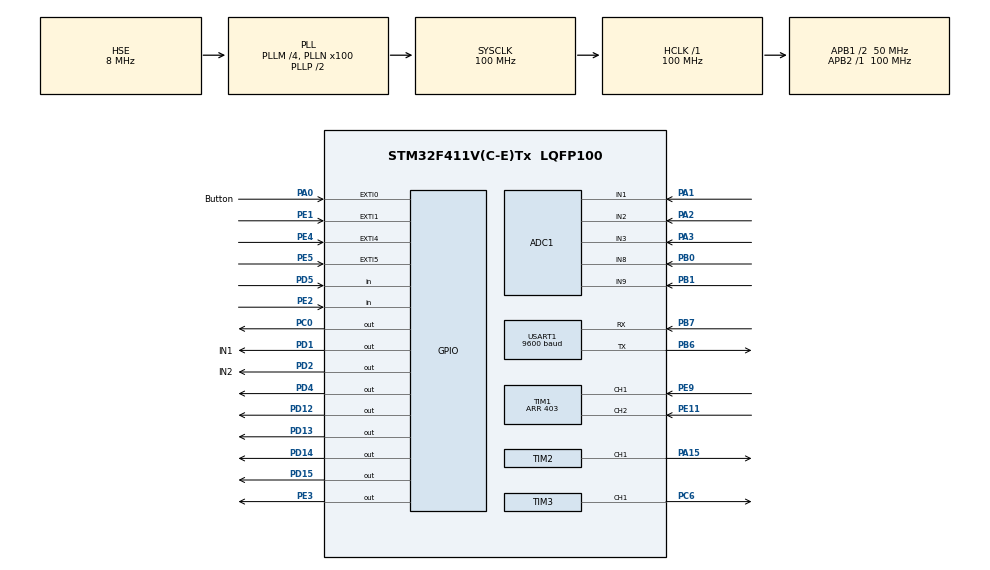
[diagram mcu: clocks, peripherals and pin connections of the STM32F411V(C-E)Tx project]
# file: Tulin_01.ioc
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ADC1.Channel-19\#ChannelRegularConversion=ADC_CHANNEL_1
ADC1.Channel-20\#ChannelRegularConversion=ADC_CHANNEL_2
ADC1.Channel-21\#ChannelRegularConversion=ADC_CHANNEL_3
ADC1.Channel-22\#ChannelRegularConversion=ADC_CHANNEL_8
ADC1.Channel-23\#ChannelRegularConversion=ADC_CHANNEL_9
ADC1.ClockPrescaler=ADC_CLOCK_SYNC_PCLK_DIV8
ADC1.ContinuousConvMode=ENABLE
ADC1.DMAContinuousRequests=ENABLE
ADC1.InjNumberOfConversion=0
ADC1.NbrOfConversion=5
ADC1.NbrOfConversionFlag=1
ADC1.Rank-19\#ChannelRegularConversion=1
ADC1.Rank-20\#ChannelRegularConversion=2
ADC1.Rank-21\#ChannelRegularConversion=3
ADC1.Rank-22\#ChannelRegularConversion=4
ADC1.Rank-23\#ChannelRegularConversion=5
ADC1.SamplingTime-19\#ChannelRegularConversion=ADC_SAMPLETIME_480CYCLES
ADC1.SamplingTime-20\#ChannelRegularConversion=ADC_SAMPLETIME_480CYCLES
ADC1.SamplingTime-21\#ChannelRegularConversion=ADC_SAMPLETIME_480CYCLES
ADC1.SamplingTime-22\#ChannelRegularConversion=ADC_SAMPLETIME_480CYCLES
ADC1.SamplingTime-23\#ChannelRegularConversion=ADC_SAMPLETIME_480CYCLES
ADC1.ScanConvMode=ENABLE
ADC1.master=1
Dma.ADC1.0.Direction=DMA_PERIPH_TO_MEMORY
Dma.ADC1.0.FIFOMode=DMA_FIFOMODE_DISABLE
Dma.ADC1.0.Instance=DMA2_Stream0
Dma.ADC1.0.MemDataAlignment=DMA_MDATAALIGN_HALFWORD
Dma.ADC1.0.MemInc=DMA_MINC_ENABLE
Dma.ADC1.0.Mode=DMA_CIRCULAR
Dma.ADC1.0.PeriphDataAlignment=DMA_PDATAALIGN_HALFWORD
Dma.ADC1.0.PeriphInc=DMA_PINC_DISABLE
Dma.ADC1.0.Priority=DMA_PRIORITY_LOW
Dma.Request0=ADC1
Dma.Request1=TIM3_CH1/TRIG
Dma.Request2=TIM2_CH1
Dma.TIM2_CH1.2.Direction=DMA_MEMORY_TO_PERIPH
Dma.TIM2_CH1.2.FIFOMode=DMA_FIFOMODE_DISABLE
Dma.TIM2_CH1.2.Instance=DMA1_Stream5
Dma.TIM2_CH1.2.MemDataAlignment=DMA_MDATAALIGN_WORD
Dma.TIM2_CH1.2.MemInc=DMA_MINC_ENABLE
Dma.TIM2_CH1.2.Mode=DMA_CIRCULAR
Dma.TIM2_CH1.2.PeriphDataAlignment=DMA_PDATAALIGN_WORD
Dma.TIM2_CH1.2.PeriphInc=DMA_PINC_DISABLE
Dma.TIM2_CH1.2.Priority=DMA_PRIORITY_LOW
Dma.TIM3_CH1/TRIG.1.Direction=DMA_MEMORY_TO_PERIPH
Dma.TIM3_CH1/TRIG.1.FIFOMode=DMA_FIFOMODE_DISABLE
Dma.TIM3_CH1/TRIG.1.Instance=DMA1_Stream4
Dma.TIM3_CH1/TRIG.1.MemDataAlignment=DMA_MDATAALIGN_HALFWORD
Dma.TIM3_CH1/TRIG.1.MemInc=DMA_MINC_ENABLE
Dma.TIM3_CH1/TRIG.1.Mode=DMA_CIRCULAR
Dma.TIM3_CH1/TRIG.1.PeriphDataAlignment=DMA_PDATAALIGN_HALFWORD
Dma.TIM3_CH1/TRIG.1.PeriphInc=DMA_PINC_DISABLE
Dma.TIM3_CH1/TRIG.1.Priority=DMA_PRIORITY_LOW
Mcu.Family=STM32F4
Mcu.Name=STM32F411V(C-E)Tx
Mcu.Package=LQFP100
NVIC.DMA1_Stream4_IRQn=true\:0\:0\:false\:false\:true\:false
NVIC.DMA1_Stream5_IRQn=true\:0\:0\:false\:false\:true\:false
NVIC.DMA2_Stream0_IRQn=true\:0\:0\:false\:false\:true\:false
NVIC.EXTI0_IRQn=true\:0\:0\:false\:false\:true\:true
NVIC.PriorityGroup=NVIC_PRIORITYGROUP_0
NVIC.TIM1_UP_TIM10_IRQn=true\:0\:0\:false\:false\:true\:true
NVIC.USART1_IRQn=true\:0\:0\:false\:false\:true\:true
PA0-WKUP.GPIO_Label=Button
PA0-WKUP.GPIO_ModeDefaultEXTI=GPIO_MODE_IT_RISING
PA0-WKUP.GPIO_PuPd=GPIO_NOPULL
PA0-WKUP.Signal=GPXTI0
PA1.Signal=ADCx_IN1
PA10.GPIO_Mode=GPIO_MODE_AF_PP
PA10.GPIO_PuPd=GPIO_NOPULL
PA10.GPIO_Speed=GPIO_SPEED_FREQ_VERY_HIGH
PA10.Signal=USB_OTG_FS_ID
PA11.GPIO_Mode=GPIO_MODE_AF_PP
PA11.GPIO_PuPd=GPIO_NOPULL
PA11.GPIO_Speed=GPIO_SPEED_FREQ_VERY_HIGH
PA11.Signal=USB_OTG_FS_DM
PA12.GPIO_Mode=GPIO_MODE_AF_PP
PA12.GPIO_PuPd=GPIO_NOPULL
PA12.GPIO_Speed=GPIO_SPEED_FREQ_VERY_HIGH
PA12.Signal=USB_OTG_FS_DP
PA13.Signal=SYS_JTMS-SWDIO
PA14.Signal=SYS_JTCK-SWCLK
PA15.Signal=S_TIM2_CH1_ETR
PA2.Signal=ADCx_IN2
PA3.Signal=ADCx_IN3
PA4.GPIO_Mode=GPIO_MODE_AF_PP
PA4.GPIO_PuPd=GPIO_NOPULL
PA4.GPIO_Speed=GPIO_SPEED_FREQ_LOW
PA4.Signal=I2S3_WS
PA5.GPIO_Mode=GPIO_MODE_AF_PP
PA5.GPIO_PuPd=GPIO_NOPULL
PA5.GPIO_Speed=GPIO_SPEED_FREQ_VERY_HIGH
PA5.Signal=SPI1_SCK
PA6.GPIO_Mode=GPIO_MODE_AF_PP
PA6.GPIO_PuPd=GPIO_NOPULL
PA6.GPIO_Speed=GPIO_SPEED_FREQ_VERY_HIGH
PA6.Signal=SPI1_MISO
PA7.GPIO_Mode=GPIO_MODE_AF_PP
PA7.GPIO_PuPd=GPIO_NOPULL
PA7.GPIO_Speed=GPIO_SPEED_FREQ_VERY_HIGH
PA7.Signal=SPI1_MOSI
PA9.GPIO_Mode=GPIO_MODE_INPUT
PA9.GPIO_PuPd=GPIO_NOPULL
PA9.Signal=USB_OTG_FS_VBUS
PB0.Signal=ADCx_IN8
PB1.Signal=ADCx_IN9
PB10.GPIO_Mode=GPIO_MODE_AF_PP
PB10.GPIO_PuPd=GPIO_NOPULL
PB10.GPIO_Speed=GPIO_SPEED_FREQ_LOW
PB10.Signal=I2S2_CK
PB12.Signal=I2S2_WS
PB3.Signal=SYS_JTDO-SWO
PB6.Mode=Asynchronous
PB6.Signal=USART1_TX
PB7.Mode=Asynchronous
PB7.Signal=USART1_RX
PB9.GPIO_Mode=GPIO_MODE_AF_OD
PB9.GPIO_PuPd=GPIO_NOPULL
PB9.GPIO_PuPdOD=GPIO_PULLUP
PB9.GPIO_Speed=GPIO_SPEED_FREQ_VERY_HIGH
PB9.Signal=I2C1_SDA
PC0.GPIO_ModeDefaultOutputPP=GPIO_MODE_OUTPUT_PP
PC0.GPIO_PuPd=GPIO_NOPULL
PC0.GPIO_Speed=GPIO_SPEED_FREQ_LOW
PC0.PinState=GPIO_PIN_RESET
PC0.Signal=GPIO_Output
PC10.GPIO_Mode=GPIO_MODE_AF_PP
PC10.GPIO_PuPd=GPIO_NOPULL
PC10.GPIO_Speed=GPIO_SPEED_FREQ_LOW
PC10.Signal=I2S3_CK
PC12.GPIO_Mode=GPIO_MODE_AF_PP
PC12.GPIO_PuPd=GPIO_NOPULL
PC12.GPIO_Speed=GPIO_SPEED_FREQ_LOW
PC12.Signal=I2S3_SD
PC14-OSC32_IN.Signal=RCC_OSC32_IN
PC15-OSC32_OUT.Signal=RCC_OSC32_OUT
PC3.GPIO_Mode=GPIO_MODE_AF_PP
PC3.GPIO_PuPd=GPIO_NOPULL
PC3.GPIO_Speed=GPIO_SPEED_FREQ_LOW
PC3.Signal=I2S2_SD
PC6.Signal=S_TIM3_CH1
PC7.GPIO_Mode=GPIO_MODE_AF_PP
PC7.GPIO_PuPd=GPIO_NOPULL
PC7.GPIO_Speed=GPIO_SPEED_FREQ_LOW
PC7.Signal=I2S3_MCK
PD1.GPIO_Label=IN1
PD1.Signal=GPIO_Output
PD12.GPIO_ModeDefaultOutputPP=GPIO_MODE_OUTPUT_PP
PD12.GPIO_PuPd=GPIO_NOPULL
PD12.GPIO_Speed=GPIO_SPEED_FREQ_LOW
PD12.PinState=GPIO_PIN_RESET
PD12.Signal=GPIO_Output
PD13.GPIO_ModeDefaultOutputPP=GPIO_MODE_OUTPUT_PP
PD13.GPIO_PuPd=GPIO_NOPULL
PD13.GPIO_Speed=GPIO_SPEED_FREQ_LOW
PD13.PinState=GPIO_PIN_RESET
PD13.Signal=GPIO_Output
PD14.GPIO_ModeDefaultOutputPP=GPIO_MODE_OUTPUT_PP
PD14.GPIO_PuPd=GPIO_NOPULL
PD14.GPIO_Speed=GPIO_SPEED_FREQ_LOW
PD14.PinState=GPIO_PIN_RESET
PD14.Signal=GPIO_Output
PD15.GPIO_ModeDefaultOutputPP=GPIO_MODE_OUTPUT_PP
PD15.GPIO_PuPd=GPIO_NOPULL
PD15.GPIO_Speed=GPIO_SPEED_FREQ_LOW
PD15.PinState=GPIO_PIN_RESET
PD15.Signal=GPIO_Output
PD2.GPIO_Label=IN2
PD2.Signal=GPIO_Output
PD4.GPIO_ModeDefaultOutputPP=GPIO_MODE_OUTPUT_PP
PD4.GPIO_PuPd=GPIO_NOPULL
PD4.GPIO_Speed=GPIO_SPEED_FREQ_LOW
PD4.PinState=GPIO_PIN_RESET
PD4.Signal=GPIO_Output
PD5.GPIO_Mode=GPIO_MODE_INPUT
PD5.GPIO_PuPd=GPIO_NOPULL
PD5.Signal=GPIO_Input
PE1.GPIO_ModeDefaultEXTI=GPIO_MODE_IT_RISING
PE1.GPIO_PuPd=GPIO_NOPULL
PE1.Signal=GPXTI1
PE11.Signal=S_TIM1_CH2
PE2.Signal=GPIO_Input
PE3.GPIO_ModeDefaultOutputPP=GPIO_MODE_OUTPUT_PP
PE3.GPIO_PuPd=GPIO_NOPULL
PE3.GPIO_Speed=GPIO_SPEED_FREQ_LOW
PE3.PinState=GPIO_PIN_RESET
PE3.Signal=GPIO_Output
PE4.GPIO_ModeDefaultEXTI=GPIO_MODE_IT_RISING
PE4.GPIO_PuPd=GPIO_NOPULL
PE4.Signal=GPXTI4
PE5.GPIO_ModeDefaultEXTI=GPIO_MODE_IT_RISING
PE5.GPIO_PuPd=GPIO_NOPULL
PE5.Signal=GPXTI5
PE9.Signal=S_TIM1_CH1
PH0\ -\ OSC_IN.Mode=HSE-External-Oscillator
PH0\ -\ OSC_IN.Signal=RCC_OSC_IN
PH1\ -\ OSC_OUT.Mode=HSE-External-Oscillator
PH1\ -\ OSC_OUT.Signal=RCC_OSC_OUT
ProjectManager.HeapSize=0x200
ProjectManager.StackSize=0x400
ProjectManager.TargetToolchain=MDK-ARM V5
RCC.48MHZClocksFreq_Value=25000000
RCC.AHBFreq_Value=100000000
RCC.APB1CLKDivider=RCC_HCLK_DIV2
RCC.APB1Freq_Value=50000000
RCC.APB1TimFreq_Value=100000000
RCC.APB2Freq_Value=100000000
RCC.APB2TimFreq_Value=100000000
RCC.CortexFreq_Value=100000000
RCC.HCLKFreq_Value=100000000
RCC.HSE_VALUE=8000000
RCC.HSI_VALUE=16000000
RCC.LSE_VALUE=32768
RCC.PLLI2SM=5
RCC.PLLI2SN=200
RCC.PLLM=4
RCC.PLLN=100
RCC.PLLQ=8
RCC.PLLSourceVirtual=RCC_PLLSOURCE_HSE
RCC.SYSCLKFreq_VALUE=100000000
RCC.SYSCLKSource=RCC_SYSCLKSOURCE_PLLCLK
RCC.VCOOutputFreq_Value=200000000
SH.ADCx_IN1.0=ADC1_IN1,IN1
SH.ADCx_IN2.0=ADC1_IN2,IN2
SH.ADCx_IN3.0=ADC1_IN3,IN3
SH.ADCx_IN8.0=ADC1_IN8,IN8
SH.ADCx_IN9.0=ADC1_IN9,IN9
SH.S_TIM1_CH1.0=TIM1_CH1,Encoder_Interface
SH.S_TIM1_CH2.0=TIM1_CH2,Encoder_Interface
SH.S_TIM2_CH1_ETR.0=TIM2_CH1,PWM Generation1 CH1
SH.S_TIM3_CH1.0=TIM3_CH1,PWM Generation1 CH1
TIM1.EncoderMode=TIM_ENCODERMODE_TI12
TIM1.IC1Filter=15
TIM1.IC2Filter=15
TIM1.Period=403
TIM10.Period=9999
TIM10.Prescaler=99
TIM2.Channel-PWM\ Generation1\ CH1=TIM_CHANNEL_1
TIM2.Period=99
TIM2.Prescaler=19
TIM3.Channel-PWM\ Generation1\ CH1=TIM_CHANNEL_1
TIM3.Period=199
TIM3.Prescaler=4999
USART1.BaudRate=9600
USART1.VirtualMode=VM_ASYNC
VP_TIM10_VS_ClockSourceINT.Mode=Enable_Timer
VP_TIM2_VS_ClockSourceINT.Mode=Internal
VP_TIM3_VS_ClockSourceINT.Mode=Internal
board=STM32F411E-DISCO

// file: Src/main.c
/**
  ******************************************************************************
  * File Name          : main.c
  * Description        : Main program body (Disco)
	* Author             : Gradowski Kamil
	* Project name       : Tulin
  ******************************************************************************

  */
#include "main.h"
#include "stm32f4xx_hal.h"

ADC_HandleTypeDef hadc1;
DMA_HandleTypeDef hdma_adc1;

TIM_HandleTypeDef htim1;
TIM_HandleTypeDef htim2;
TIM_HandleTypeDef htim3;
TIM_HandleTypeDef htim10;
DMA_HandleTypeDef hdma_tim2_ch1;
DMA_HandleTypeDef hdma_tim3_ch1_trig;

UART_HandleTypeDef huart1;

/* USER CODE BEGIN PV */
/* Private variables ---------------------------------------------------------*/
uint32_t Duty = 0; //SKRET
uint32_t Duty2 = 83; // PREDKOSC
uint32_t serwo = 21; // SKRET
uint16_t czujniki[5];
uint16_t tablica[5];
uint32_t kalibracja[5] = {0,0,0,0,0};
uint16_t prog = 1900;
uint8_t status = 0 ;
uint16_t czas_kalibracji = 100;
volatile uint8_t petla = 0;
int wagi[7] = {-20, -10, 0, 10, 20};
int blad=0, pop_blad =0 , Kp = 1 , Kd = 1;
uint32_t ile = 0;
volatile int test;
//static uint16_t cnt = 0; // Licznik wyslanych wiadomosci
uint8_t Data[50]; // Tablica przechowujaca wysylana wiadomosc.
uint16_t size = 0; // Rozmiar wysylanej wiadomosci
uint8_t Received;
float kb =0.6;
uint8_t flaga_nucleo;
uint32_t cnt_f =0;
uint8_t poprawka = 0;
uint8_t wiad = 0;

/* USER CODE END PV */

void SystemClock_Config(void);
static void MX_GPIO_Init(void);
static void MX_DMA_Init(void);
static void MX_TIM3_Init(void);
static void MX_TIM1_Init(void);
static void MX_ADC1_Init(void);
static void MX_TIM2_Init(void);
static void MX_TIM10_Init(void);
static void MX_USART1_UART_Init(void);

void HAL_TIM_MspPostInit(TIM_HandleTypeDef *htim);

/* USER CODE BEGIN PFP */
/* Private function prototypes -----------------------------------------------*/
void HAL_GPIO_EXTI_Callback(uint16_t GPIO_Pin){
 if(GPIO_Pin == Button_Pin){
	 status =!status;               // ON/OFF
	 	if(status == 1) Duty2 = 25;	  // predkosc poczatkowa - ON
		else Duty2 = 0;               // OFF
 }
 }
//Przerwanie 100Hz, do glownej petli programu
void HAL_TIM_PeriodElapsedCallback(TIM_HandleTypeDef *htim){
 if(htim->Instance == TIM10){
	 petla = 1;
	 cnt_f++;
 }
 }

// Przerwanie wywolywane z czestotliwoscia 1KHz
void HAL_SYSTICK_Callback(void)

	{

  }

	//FUNKCJA DO USTALANIA PROGU - KALIBRACJI CZUJNIKÓW
	void kalibracja_progu()
	{
		for(int j = 0 ; j < czas_kalibracji ; j++)
		{
			for( int i = 0 ; i < 5 ; i++)
			{
			kalibracja[i] = kalibracja[i] + czujniki[i]; // Sumowanie wartosci z czujników linii
			}

		}
		for( int k = 0 ; k < 5 ; k++)
		{
			kalibracja[k]= (kalibracja[k] / czas_kalibracji) ; //usrednienie wartosci z czujników
		}

	}

	// FUNKCJA DETEKCJI LINII
	void czytaj_adc()
	{
		for( int i = 0 ; i < 5 ; i++)                // przeszukiwanie tablicy z wartosciami napiec
		{
			if(czujniki[i] > ( kalibracja[i] + prog) ) // zamiana wartosci napiec z transoptorow
			{                                          // na tablice zawierajaca informacje o wykryciu linii
				tablica[i] = 1;                          // wykrycie linii
			}
			else
			{
				tablica[i] = 0;                           // brak wykrycia linii
			}

		}

	}

	int licz_blad()
{
    int err = 0;                         // wartosc bledu
    int ilosc = 0;                        // ilosc czujników z wykryta linia

    for(int i=0; i<5; i++)
    {
        err += tablica[i]*wagi[i];        // wymnozenie czujnikow przez wagi
        ilosc += tablica[i];              // tablica[i] ma wartosc 1/0 wiec zliczamy
    }                                     // czujniki pod którymi wykryto linie

    err = err / ilosc;                        // usrednienie wartosci bledu

    return err;
}

int PD()
{
    //wynik funkcji licz_blad() przechowywany jest w zmiennej blad
    int rozniczka = blad - pop_blad;   // obliczanie czlonu rozniczkujacego
    pop_blad = blad;
    return Kp*blad + Kd*rozniczka;    // przypisanie wag do czlonow
}
/* Funkcja szukania linii po zgubieniu */
void szukanie_ln()
{
	uint8_t ilosc_cz = 0;
	uint8_t sz_blad = 0;
	uint8_t czas_zgubienia = 0;

	/* przeszukiwanie tablicy czujnikow */
	for(int l=0; l<5 ; l++)
	{
		ilosc_cz += tablica[l]; //zliczanie ilosci czujnikow pod ktorymi jest linia
	}
	/* jezeli wykryto linie i blad jest wiekszy od zera */
	if((ilosc_cz > 0) ^ (blad > 0))
	{
		sz_blad = blad;        // zachowanie wartosci bledu w zmiennej sz_blad
		czas_zgubienia = 0;
	}
	else                     // nie ma lini pod czujnikami
	{
		czas_zgubienia++;      // inkrementacja czasu braku lini pod czujnikami
		/* jezeli nie ma linii pod czujnikami i jezeli blad wynosi 0
		i jezeli trwa to od 0,5 s */
		if ((blad == 0) ^ (czas_zgubienia > 50))
		{
			blad = sz_blad;     // przypisanie do aktualnego bledu ostatnia porawna wartosc
		}
	}
}
/* Funkcja awaryjnego lub zdalnego zatrzymania robota */
void stop()
{
	if(flaga_nucleo == 6)     // jesli otrzymano polecenie STOP
	{
		status = 0;             // zatrzymaj silnik
	}
	else if( cnt_f == 2000)   //jesli przez 20s nie otrzymano zadnego polecenia
	{
		if(flaga_nucleo == 0)
		{
			status = 0;          // zatrzymaj silnik
		}
		flaga_nucleo = 0;      // wyzerowanie flagi wiadomosci
		cnt_f = 0;             // wyzerowanie licznika czasu
	}

}
//  UART

// UART!!!!!!!!!! - Bluetooth
void HAL_UART_RxCpltCallback(UART_HandleTypeDef *huart) {

 uint8_t Data[50]; // Tablica przechowujaca wysylana wiadomosc.
 uint16_t size = 0; // Rozmiar wysylanej wiadomosci

 // Odebrany znak zostaje przekonwertowany na liczbe calkowita i sprawdzony
 // instrukcja warunkowa

 switch (atoi((char*)&Received)) {

 case 2: // Jezeli odebrany zostanie znak 2
 wiad = 1;
 HAL_GPIO_WritePin(GPIOD, GPIO_PIN_13, GPIO_PIN_SET);
 flaga_nucleo = 2;

 break;

 case 8: // Jezeli odebrany zostanie znak 8
wiad = 1;
 HAL_GPIO_WritePin(GPIOD, GPIO_PIN_13, GPIO_PIN_RESET);
 flaga_nucleo = 8;

 break;

 case 6: // Jezeli odebrany zostanie znak 6
wiad = 1;
 flaga_nucleo = 6;

 break;

 case 3: // Jezeli odebrany zostanie znak 3
wiad = 1;
 flaga_nucleo = 3;

 //default: // Jezeli odebrano nieobslugiwany znak
 //size = sprintf(Data, "Odebrano nieznany znak: %c\n\r", Received[10]);

 }
 HAL_UART_Transmit_IT(&huart1, Data, size); // Rozpoczecie nadawania danych z wykorzystaniem przerwan
 HAL_UART_Receive_IT(&huart1, &Received, 1); // Ponowne wlaczenie nasluchiwania
 }

/* USER CODE END PFP */

int main(void)
{

  /* MCU Configuration----------------------------------------------------------*/

  /* Reset of all peripherals, Initializes the Flash interface and the Systick. */
  HAL_Init();

  /* Configure the system clock */
  SystemClock_Config();

  /* Initialize all configured peripherals */
  MX_GPIO_Init();
  MX_DMA_Init();
  MX_TIM3_Init();
  MX_TIM1_Init();
  MX_ADC1_Init();
  MX_TIM2_Init();
  MX_TIM10_Init();
  MX_USART1_UART_Init();

  /* USER CODE BEGIN 2 */
HAL_TIM_PWM_Start_DMA(&htim3, TIM_CHANNEL_1, &Duty, 1);
HAL_TIM_PWM_Start_DMA(&htim2, TIM_CHANNEL_1, &Duty2, 1);
HAL_TIM_Encoder_Start(&htim1, TIM_CHANNEL_ALL);
HAL_ADC_Start_IT(&hadc1);
HAL_ADC_Start_DMA(&hadc1, (uint32_t*)czujniki, 5);
HAL_GPIO_WritePin(GPIOD, GPIO_PIN_1, GPIO_PIN_RESET);
HAL_GPIO_WritePin(GPIOD, GPIO_PIN_2, GPIO_PIN_SET);
HAL_TIM_Base_Start_IT(&htim10);
HAL_UART_Receive_IT(&huart1, &Received, 1);

kalibracja_progu();
  /* USER CODE END 2 */

  /* Infinite loop */
  while (1)
  {

  /* USER CODE BEGIN 3 */
szukanie_ln();
Duty = serwo;                                    		// sterowanie kolami
if( Duty >= 50) Duty = 50;													 // ograniczenie ruchow serwa
if (Duty <=0) Duty = 0;

		// JAZDA. STATUS I PREDKOSC
	if(wiad == 1)
	{
	if(flaga_nucleo == 2 ) Duty2 = Duty2 + 5;         //przyspiesz
	else if(flaga_nucleo == 8) Duty2 = Duty2 - 5;	    //zwolnij
		wiad = 0;
	}

		if(petla)
		{
			HAL_GPIO_TogglePin(GPIOD, GPIO_PIN_14);

		  czytaj_adc();

			blad = licz_blad();

			poprawka = PD();  // regulator PD
// nanoszenie poprawki - reakcja na blad
				serwo = 21 + (kb*poprawka);
				if( serwo >= 50) serwo = 50;
				if (serwo <=0) serwo = 0;

			petla = 0;
		}

  /* USER CODE END 3 */

}
	}

/** System Clock Configuration
*/
void SystemClock_Config(void)
{

  RCC_OscInitTypeDef RCC_OscInitStruct;
  RCC_ClkInitTypeDef RCC_ClkInitStruct;

    /**Configure the main internal regulator output voltage
    */
  __HAL_RCC_PWR_CLK_ENABLE();

  __HAL_PWR_VOLTAGESCALING_CONFIG(PWR_REGULATOR_VOLTAGE_SCALE1);

    /**Initializes the CPU, AHB and APB busses clocks
    */
  RCC_OscInitStruct.OscillatorType = RCC_OSCILLATORTYPE_HSE;
  RCC_OscInitStruct.HSEState = RCC_HSE_ON;
  RCC_OscInitStruct.PLL.PLLState = RCC_PLL_ON;
  RCC_OscInitStruct.PLL.PLLSource = RCC_PLLSOURCE_HSE;
  RCC_OscInitStruct.PLL.PLLM = 4;
  RCC_OscInitStruct.PLL.PLLN = 100;
  RCC_OscInitStruct.PLL.PLLP = RCC_PLLP_DIV2;
  RCC_OscInitStruct.PLL.PLLQ = 8;
  if (HAL_RCC_OscConfig(&RCC_OscInitStruct) != HAL_OK)
  {
    _Error_Handler(__FILE__, __LINE__);
  }

    /**Initializes the CPU, AHB and APB busses clocks
    */
  RCC_ClkInitStruct.ClockType = RCC_CLOCKTYPE_HCLK|RCC_CLOCKTYPE_SYSCLK
                              |RCC_CLOCKTYPE_PCLK1|RCC_CLOCKTYPE_PCLK2;
  RCC_ClkInitStruct.SYSCLKSource = RCC_SYSCLKSOURCE_PLLCLK;
  RCC_ClkInitStruct.AHBCLKDivider = RCC_SYSCLK_DIV1;
  RCC_ClkInitStruct.APB1CLKDivider = RCC_HCLK_DIV2;
  RCC_ClkInitStruct.APB2CLKDivider = RCC_HCLK_DIV1;

  if (HAL_RCC_ClockConfig(&RCC_ClkInitStruct, FLASH_LATENCY_3) != HAL_OK)
  {
    _Error_Handler(__FILE__, __LINE__);
  }

    /**Configure the Systick interrupt time
    */
  HAL_SYSTICK_Config(HAL_RCC_GetHCLKFreq()/1000);

    /**Configure the Systick
    */
  HAL_SYSTICK_CLKSourceConfig(SYSTICK_CLKSOURCE_HCLK);

  /* SysTick_IRQn interrupt configuration */
  HAL_NVIC_SetPriority(SysTick_IRQn, 0, 0);
}

/* ADC1 init function */
static void MX_ADC1_Init(void)
{

  ADC_ChannelConfTypeDef sConfig;

    /**Configure the global features of the ADC (Clock, Resolution, Data Alignment and number of conversion)
    */
  hadc1.Instance = ADC1;
  hadc1.Init.ClockPrescaler = ADC_CLOCK_SYNC_PCLK_DIV8;
  hadc1.Init.Resolution = ADC_RESOLUTION_12B;
  hadc1.Init.ScanConvMode = ENABLE;
  hadc1.Init.ContinuousConvMode = ENABLE;
  hadc1.Init.DiscontinuousConvMode = DISABLE;
  hadc1.Init.ExternalTrigConvEdge = ADC_EXTERNALTRIGCONVEDGE_NONE;
  hadc1.Init.ExternalTrigConv = ADC_SOFTWARE_START;
  hadc1.Init.DataAlign = ADC_DATAALIGN_RIGHT;
  hadc1.Init.NbrOfConversion = 5;
  hadc1.Init.DMAContinuousRequests = ENABLE;
  hadc1.Init.EOCSelection = ADC_EOC_SINGLE_CONV;
  if (HAL_ADC_Init(&hadc1) != HAL_OK)
  {
    _Error_Handler(__FILE__, __LINE__);
  }

    /**Configure for the selected ADC regular channel its corresponding rank in the sequencer and its sample time.
    */
  sConfig.Channel = ADC_CHANNEL_1;
  sConfig.Rank = 1;
  sConfig.SamplingTime = ADC_SAMPLETIME_480CYCLES;
  if (HAL_ADC_ConfigChannel(&hadc1, &sConfig) != HAL_OK)
  {
    _Error_Handler(__FILE__, __LINE__);
  }

    /**Configure for the selected ADC regular channel its corresponding rank in the sequencer and its sample time.
    */
  sConfig.Channel = ADC_CHANNEL_2;
  sConfig.Rank = 2;
  if (HAL_ADC_ConfigChannel(&hadc1, &sConfig) != HAL_OK)
  {
    _Error_Handler(__FILE__, __LINE__);
  }

    /**Configure for the selected ADC regular channel its corresponding rank in the sequencer and its sample time.
    */
  sConfig.Channel = ADC_CHANNEL_3;
  sConfig.Rank = 3;
  if (HAL_ADC_ConfigChannel(&hadc1, &sConfig) != HAL_OK)
  {
    _Error_Handler(__FILE__, __LINE__);
  }

    /**Configure for the selected ADC regular channel its corresponding rank in the sequencer and its sample time.
    */
  sConfig.Channel = ADC_CHANNEL_8;
  sConfig.Rank = 4;
  if (HAL_ADC_ConfigChannel(&hadc1, &sConfig) != HAL_OK)
  {
    _Error_Handler(__FILE__, __LINE__);
  }

    /**Configure for the selected ADC regular channel its corresponding rank in the sequencer and its sample time.
    */
  sConfig.Channel = ADC_CHANNEL_9;
  sConfig.Rank = 5;
  if (HAL_ADC_ConfigChannel(&hadc1, &sConfig) != HAL_OK)
  {
    _Error_Handler(__FILE__, __LINE__);
  }

}

/* TIM1 init function */
static void MX_TIM1_Init(void)
{

  TIM_Encoder_InitTypeDef sConfig;
  TIM_MasterConfigTypeDef sMasterConfig;

  htim1.Instance = TIM1;
  htim1.Init.Prescaler = 0;
  htim1.Init.CounterMode = TIM_COUNTERMODE_UP;
  htim1.Init.Period = 403;
  htim1.Init.ClockDivision = TIM_CLOCKDIVISION_DIV1;
  htim1.Init.RepetitionCounter = 0;
  sConfig.EncoderMode = TIM_ENCODERMODE_TI12;
  sConfig.IC1Polarity = TIM_ICPOLARITY_RISING;
  sConfig.IC1Selection = TIM_ICSELECTION_DIRECTTI;
  sConfig.IC1Prescaler = TIM_ICPSC_DIV1;
  sConfig.IC1Filter = 15;
  sConfig.IC2Polarity = TIM_ICPOLARITY_RISING;
  sConfig.IC2Selection = TIM_ICSELECTION_DIRECTTI;
  sConfig.IC2Prescaler = TIM_ICPSC_DIV1;
  sConfig.IC2Filter = 15;
  if (HAL_TIM_Encoder_Init(&htim1, &sConfig) != HAL_OK)
  {
    _Error_Handler(__FILE__, __LINE__);
  }

  sMasterConfig.MasterOutputTrigger = TIM_TRGO_RESET;
  sMasterConfig.MasterSlaveMode = TIM_MASTERSLAVEMODE_DISABLE;
  if (HAL_TIMEx_MasterConfigSynchronization(&htim1, &sMasterConfig) != HAL_OK)
  {
    _Error_Handler(__FILE__, __LINE__);
  }

}

/* TIM2 init function */
static void MX_TIM2_Init(void)
{

  TIM_ClockConfigTypeDef sClockSourceConfig;
  TIM_MasterConfigTypeDef sMasterConfig;
  TIM_OC_InitTypeDef sConfigOC;

  htim2.Instance = TIM2;
  htim2.Init.Prescaler = 19;
  htim2.Init.CounterMode = TIM_COUNTERMODE_UP;
  htim2.Init.Period = 99;
  htim2.Init.ClockDivision = TIM_CLOCKDIVISION_DIV1;
  if (HAL_TIM_Base_Init(&htim2) != HAL_OK)
  {
    _Error_Handler(__FILE__, __LINE__);
  }

  sClockSourceConfig.ClockSource = TIM_CLOCKSOURCE_INTERNAL;
  if (HAL_TIM_ConfigClockSource(&htim2, &sClockSourceConfig) != HAL_OK)
  {
    _Error_Handler(__FILE__, __LINE__);
  }

  if (HAL_TIM_PWM_Init(&htim2) != HAL_OK)
  {
    _Error_Handler(__FILE__, __LINE__);
  }

  sMasterConfig.MasterOutputTrigger = TIM_TRGO_RESET;
  sMasterConfig.MasterSlaveMode = TIM_MASTERSLAVEMODE_DISABLE;
  if (HAL_TIMEx_MasterConfigSynchronization(&htim2, &sMasterConfig) != HAL_OK)
  {
    _Error_Handler(__FILE__, __LINE__);
  }

  sConfigOC.OCMode = TIM_OCMODE_PWM1;
  sConfigOC.Pulse = 0;
  sConfigOC.OCPolarity = TIM_OCPOLARITY_HIGH;
  sConfigOC.OCFastMode = TIM_OCFAST_DISABLE;
  if (HAL_TIM_PWM_ConfigChannel(&htim2, &sConfigOC, TIM_CHANNEL_1) != HAL_OK)
  {
    _Error_Handler(__FILE__, __LINE__);
  }

  HAL_TIM_MspPostInit(&htim2);

}

/* TIM3 init function */
static void MX_TIM3_Init(void)
{

  TIM_ClockConfigTypeDef sClockSourceConfig;
  TIM_MasterConfigTypeDef sMasterConfig;
  TIM_OC_InitTypeDef sConfigOC;

  htim3.Instance = TIM3;
  htim3.Init.Prescaler = 4999;
  htim3.Init.CounterMode = TIM_COUNTERMODE_UP;
  htim3.Init.Period = 199;
  htim3.Init.ClockDivision = TIM_CLOCKDIVISION_DIV1;
  if (HAL_TIM_Base_Init(&htim3) != HAL_OK)
  {
    _Error_Handler(__FILE__, __LINE__);
  }

  sClockSourceConfig.ClockSource = TIM_CLOCKSOURCE_INTERNAL;
  if (HAL_TIM_ConfigClockSource(&htim3, &sClockSourceConfig) != HAL_OK)
  {
    _Error_Handler(__FILE__, __LINE__);
  }

  if (HAL_TIM_PWM_Init(&htim3) != HAL_OK)
  {
    _Error_Handler(__FILE__, __LINE__);
  }

  sMasterConfig.MasterOutputTrigger = TIM_TRGO_RESET;
  sMasterConfig.MasterSlaveMode = TIM_MASTERSLAVEMODE_DISABLE;
  if (HAL_TIMEx_MasterConfigSynchronization(&htim3, &sMasterConfig) != HAL_OK)
  {
    _Error_Handler(__FILE__, __LINE__);
  }

  sConfigOC.OCMode = TIM_OCMODE_PWM1;
  sConfigOC.Pulse = 0;
  sConfigOC.OCPolarity = TIM_OCPOLARITY_HIGH;
  sConfigOC.OCFastMode = TIM_OCFAST_DISABLE;
  if (HAL_TIM_PWM_ConfigChannel(&htim3, &sConfigOC, TIM_CHANNEL_1) != HAL_OK)
  {
    _Error_Handler(__FILE__, __LINE__);
  }

  HAL_TIM_MspPostInit(&htim3);

}

/* TIM10 init function */
static void MX_TIM10_Init(void)
{

  htim10.Instance = TIM10;
  htim10.Init.Prescaler = 99;
  htim10.Init.CounterMode = TIM_COUNTERMODE_UP;
  htim10.Init.Period = 9999;
  htim10.Init.ClockDivision = TIM_CLOCKDIVISION_DIV1;
  if (HAL_TIM_Base_Init(&htim10) != HAL_OK)
  {
    _Error_Handler(__FILE__, __LINE__);
  }

}

/* USART1 init function */
static void MX_USART1_UART_Init(void)
{

  huart1.Instance = USART1;
  huart1.Init.BaudRate = 9600;
  huart1.Init.WordLength = UART_WORDLENGTH_8B;
  huart1.Init.StopBits = UART_STOPBITS_1;
  huart1.Init.Parity = UART_PARITY_NONE;
  huart1.Init.Mode = UART_MODE_TX_RX;
  huart1.Init.HwFlowCtl = UART_HWCONTROL_NONE;
  huart1.Init.OverSampling = UART_OVERSAMPLING_16;
  if (HAL_UART_Init(&huart1) != HAL_OK)
  {
    _Error_Handler(__FILE__, __LINE__);
  }

}

static void MX_DMA_Init(void)
{
  /* DMA controller clock enable */
  __HAL_RCC_DMA2_CLK_ENABLE();
  __HAL_RCC_DMA1_CLK_ENABLE();

  /* DMA interrupt init */
  /* DMA1_Stream4_IRQn interrupt configuration */
  HAL_NVIC_SetPriority(DMA1_Stream4_IRQn, 0, 0);
  HAL_NVIC_EnableIRQ(DMA1_Stream4_IRQn);
  /* DMA1_Stream5_IRQn interrupt configuration */
  HAL_NVIC_SetPriority(DMA1_Stream5_IRQn, 0, 0);
  HAL_NVIC_EnableIRQ(DMA1_Stream5_IRQn);
  /* DMA2_Stream0_IRQn interrupt configuration */
  HAL_NVIC_SetPriority(DMA2_Stream0_IRQn, 0, 0);
  HAL_NVIC_EnableIRQ(DMA2_Stream0_IRQn);

}

/** Configure pins as
        * Analog
        * Input
        * Output
        * EVENT_OUT
        * EXTI
     PC3   ------> I2S2_SD
     PA4   ------> I2S3_WS
     PA5   ------> SPI1_SCK
     PA6   ------> SPI1_MISO
     PA7   ------> SPI1_MOSI
     PB10   ------> I2S2_CK
     PB12   ------> I2S2_WS
     PC7   ------> I2S3_MCK
     PA9   ------> USB_OTG_FS_VBUS
     PA10   ------> USB_OTG_FS_ID
     PA11   ------> USB_OTG_FS_DM
     PA12   ------> USB_OTG_FS_DP
     PC10   ------> I2S3_CK
     PC12   ------> I2S3_SD
     PB9   ------> I2C1_SDA
*/
static void MX_GPIO_Init(void)
{

  GPIO_InitTypeDef GPIO_InitStruct;

  /* GPIO Ports Clock Enable */
  __HAL_RCC_GPIOE_CLK_ENABLE();
  __HAL_RCC_GPIOC_CLK_ENABLE();
  __HAL_RCC_GPIOH_CLK_ENABLE();
  __HAL_RCC_GPIOA_CLK_ENABLE();
  __HAL_RCC_GPIOB_CLK_ENABLE();
  __HAL_RCC_GPIOD_CLK_ENABLE();

  /*Configure GPIO pin Output Level */
  HAL_GPIO_WritePin(GPIOE, GPIO_PIN_3, GPIO_PIN_RESET);

  /*Configure GPIO pin Output Level */
  HAL_GPIO_WritePin(GPIOC, GPIO_PIN_0, GPIO_PIN_RESET);

  /*Configure GPIO pin Output Level */
  HAL_GPIO_WritePin(GPIOD, GPIO_PIN_12|GPIO_PIN_13|GPIO_PIN_14|GPIO_PIN_15
                          |IN1_Pin|IN2_Pin|GPIO_PIN_4, GPIO_PIN_RESET);

  /*Configure GPIO pin : PE2 */
  GPIO_InitStruct.Pin = GPIO_PIN_2;
  GPIO_InitStruct.Mode = GPIO_MODE_INPUT;
  GPIO_InitStruct.Pull = GPIO_NOPULL;
  HAL_GPIO_Init(GPIOE, &GPIO_InitStruct);

  /*Configure GPIO pin : PE3 */
  GPIO_InitStruct.Pin = GPIO_PIN_3;
  GPIO_InitStruct.Mode = GPIO_MODE_OUTPUT_PP;
  GPIO_InitStruct.Pull = GPIO_NOPULL;
  GPIO_InitStruct.Speed = GPIO_SPEED_FREQ_LOW;
  HAL_GPIO_Init(GPIOE, &GPIO_InitStruct);

  /*Configure GPIO pins : PE4 PE5 PE1 */
  GPIO_InitStruct.Pin = GPIO_PIN_4|GPIO_PIN_5|GPIO_PIN_1;
  GPIO_InitStruct.Mode = GPIO_MODE_IT_RISING;
  GPIO_InitStruct.Pull = GPIO_NOPULL;
  HAL_GPIO_Init(GPIOE, &GPIO_InitStruct);

  /*Configure GPIO pin : PC0 */
  GPIO_InitStruct.Pin = GPIO_PIN_0;
  GPIO_InitStruct.Mode = GPIO_MODE_OUTPUT_PP;
  GPIO_InitStruct.Pull = GPIO_NOPULL;
  GPIO_InitStruct.Speed = GPIO_SPEED_FREQ_LOW;
  HAL_GPIO_Init(GPIOC, &GPIO_InitStruct);

  /*Configure GPIO pin : PC3 */
  GPIO_InitStruct.Pin = GPIO_PIN_3;
  GPIO_InitStruct.Mode = GPIO_MODE_AF_PP;
  GPIO_InitStruct.Pull = GPIO_NOPULL;
  GPIO_InitStruct.Speed = GPIO_SPEED_FREQ_LOW;
  GPIO_InitStruct.Alternate = GPIO_AF5_SPI2;
  HAL_GPIO_Init(GPIOC, &GPIO_InitStruct);

  /*Configure GPIO pin : Button_Pin */
  GPIO_InitStruct.Pin = Button_Pin;
  GPIO_InitStruct.Mode = GPIO_MODE_IT_RISING;
  GPIO_InitStruct.Pull = GPIO_NOPULL;
  HAL_GPIO_Init(Button_GPIO_Port, &GPIO_InitStruct);

  /*Configure GPIO pin : PA4 */
  GPIO_InitStruct.Pin = GPIO_PIN_4;
  GPIO_InitStruct.Mode = GPIO_MODE_AF_PP;
  GPIO_InitStruct.Pull = GPIO_NOPULL;
  GPIO_InitStruct.Speed = GPIO_SPEED_FREQ_LOW;
  GPIO_InitStruct.Alternate = GPIO_AF6_SPI3;
  HAL_GPIO_Init(GPIOA, &GPIO_InitStruct);

  /*Configure GPIO pins : PA5 PA6 PA7 */
  GPIO_InitStruct.Pin = GPIO_PIN_5|GPIO_PIN_6|GPIO_PIN_7;
  GPIO_InitStruct.Mode = GPIO_MODE_AF_PP;
  GPIO_InitStruct.Pull = GPIO_NOPULL;
  GPIO_InitStruct.Speed = GPIO_SPEED_FREQ_VERY_HIGH;
  GPIO_InitStruct.Alternate = GPIO_AF5_SPI1;
  HAL_GPIO_Init(GPIOA, &GPIO_InitStruct);

  /*Configure GPIO pins : PB10 PB12 */
  GPIO_InitStruct.Pin = GPIO_PIN_10|GPIO_PIN_12;
  GPIO_InitStruct.Mode = GPIO_MODE_AF_PP;
  GPIO_InitStruct.Pull = GPIO_NOPULL;
  GPIO_InitStruct.Speed = GPIO_SPEED_FREQ_LOW;
  GPIO_InitStruct.Alternate = GPIO_AF5_SPI2;
  HAL_GPIO_Init(GPIOB, &GPIO_InitStruct);

  /*Configure GPIO pins : PD12 PD13 PD14 PD15
                           IN1_Pin IN2_Pin PD4 */
  GPIO_InitStruct.Pin = GPIO_PIN_12|GPIO_PIN_13|GPIO_PIN_14|GPIO_PIN_15
                          |IN1_Pin|IN2_Pin|GPIO_PIN_4;
  GPIO_InitStruct.Mode = GPIO_MODE_OUTPUT_PP;
  GPIO_InitStruct.Pull = GPIO_NOPULL;
  GPIO_InitStruct.Speed = GPIO_SPEED_FREQ_LOW;
  HAL_GPIO_Init(GPIOD, &GPIO_InitStruct);

  /*Configure GPIO pins : PC7 PC10 PC12 */
  GPIO_InitStruct.Pin = GPIO_PIN_7|GPIO_PIN_10|GPIO_PIN_12;
  GPIO_InitStruct.Mode = GPIO_MODE_AF_PP;
  GPIO_InitStruct.Pull = GPIO_NOPULL;
  GPIO_InitStruct.Speed = GPIO_SPEED_FREQ_LOW;
  GPIO_InitStruct.Alternate = GPIO_AF6_SPI3;
  HAL_GPIO_Init(GPIOC, &GPIO_InitStruct);

  /*Configure GPIO pin : PA9 */
  GPIO_InitStruct.Pin = GPIO_PIN_9;
  GPIO_InitStruct.Mode = GPIO_MODE_INPUT;
  GPIO_InitStruct.Pull = GPIO_NOPULL;
  HAL_GPIO_Init(GPIOA, &GPIO_InitStruct);

  /*Configure GPIO pins : PA10 PA11 PA12 */
  GPIO_InitStruct.Pin = GPIO_PIN_10|GPIO_PIN_11|GPIO_PIN_12;
  GPIO_InitStruct.Mode = GPIO_MODE_AF_PP;
  GPIO_InitStruct.Pull = GPIO_NOPULL;
  GPIO_InitStruct.Speed = GPIO_SPEED_FREQ_VERY_HIGH;
  GPIO_InitStruct.Alternate = GPIO_AF10_OTG_FS;
  HAL_GPIO_Init(GPIOA, &GPIO_InitStruct);

  /*Configure GPIO pin : PD5 */
  GPIO_InitStruct.Pin = GPIO_PIN_5;
  GPIO_InitStruct.Mode = GPIO_MODE_INPUT;
  GPIO_InitStruct.Pull = GPIO_NOPULL;
  HAL_GPIO_Init(GPIOD, &GPIO_InitStruct);

  /*Configure GPIO pin : PB9 */
  GPIO_InitStruct.Pin = GPIO_PIN_9;
  GPIO_InitStruct.Mode = GPIO_MODE_AF_OD;
  GPIO_InitStruct.Pull = GPIO_PULLUP;
  GPIO_InitStruct.Speed = GPIO_SPEED_FREQ_VERY_HIGH;
  GPIO_InitStruct.Alternate = GPIO_AF4_I2C1;
  HAL_GPIO_Init(GPIOB, &GPIO_InitStruct);

  /* EXTI interrupt init*/
  HAL_NVIC_SetPriority(EXTI0_IRQn, 0, 0);
  HAL_NVIC_EnableIRQ(EXTI0_IRQn);

}

void _Error_Handler(char * file, int line)
{
  while(1)
  {
  }
}

/************************ (C) COPYRIGHT STMicroelectronics *****END OF FILE****/
